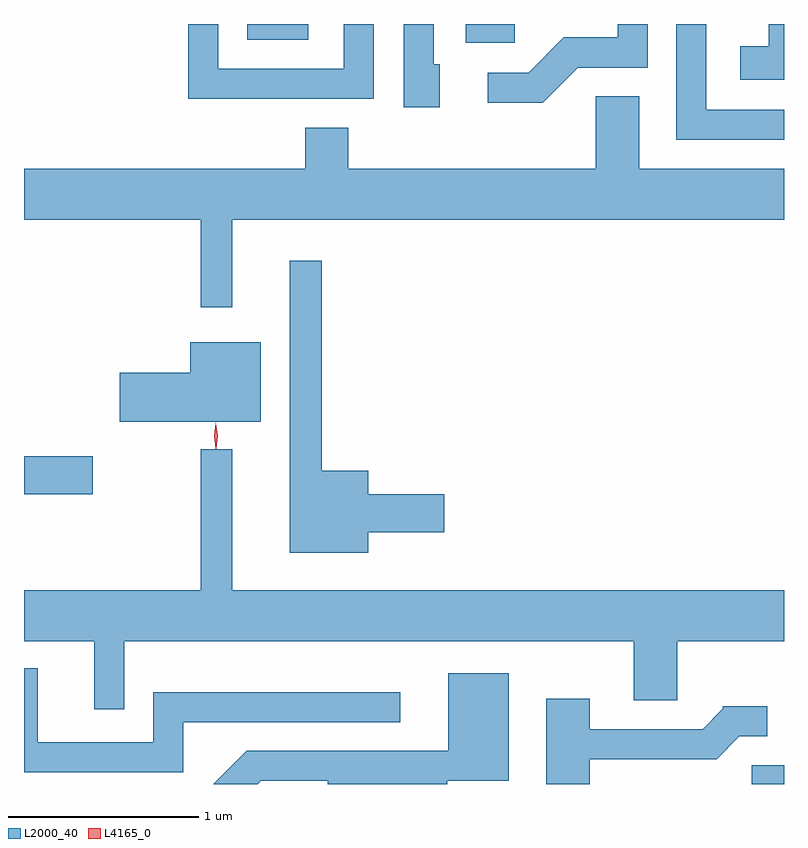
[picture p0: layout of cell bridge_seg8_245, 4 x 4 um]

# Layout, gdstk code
import gdstk
lib = gdstk.Library(unit=1e-6, precision=1e-09)
def R(c, l, rs):  # rectangles x0, y0, x1, y1
    for r in rs: c.add(gdstk.rectangle(r[:2], r[2:], *l))
def P(c, l, *ps):  # polygons
    for p in ps: c.add(gdstk.Polygon(p, *l))
L2000_40 = (2000, 40)
L4165_0 = (4165, 0)

bridge_seg8_245 = lib.new_cell('bridge_seg8_245')
R(bridge_seg8_245, L2000_40, [(1113.651,1820.125,1113.822,1820.224), (1109.822,1821.651,1110.184,1821.849), (1112.146,1824.026,1112.404,1824.125), (1110.996,1824.041,1111.319,1824.125)])
P(bridge_seg8_245, L2000_40, [(1113.822,1823.674),(1113.414,1823.674),(1113.414,1824.125),(1113.256,1824.125),(1113.256,1823.516),(1113.822,1823.516)],
  [(1112.737,1823.896),(1113.104,1823.896),(1113.104,1824.125),(1112.946,1824.125),(1112.946,1824.054),(1112.664,1824.054),(1112.479,1823.869),(1112.263,1823.869),(1112.263,1823.711),(1112.552,1823.711)],
  [(1111.664,1824.125),(1111.506,1824.125),(1111.506,1823.889),(1110.844,1823.889),(1110.844,1824.125),(1110.686,1824.125),(1110.686,1823.731),(1111.664,1823.731)],
  [(1113.822,1824.125),(1113.741,1824.125),(1113.741,1824.009),(1113.591,1824.009),(1113.591,1823.831),(1113.822,1823.831)],
  [(1112.009,1823.914),(1111.979,1823.914),(1111.979,1824.125),(1111.821,1824.125),(1111.821,1823.686),(1112.009,1823.686)],
  [(1110.919,1823.096),(1113.822,1823.096),(1113.822,1823.364),(1113.059,1823.364),(1113.059,1823.744),(1112.831,1823.744),(1112.831,1823.364),(1111.529,1823.364),(1111.529,1823.579),(1111.301,1823.579),(1111.301,1823.364),(1109.822,1823.364),(1109.822,1823.096),(1110.751,1823.096),(1110.751,1822.633),(1110.919,1822.633)],
  [(1111.634,1821.451),(1112.034,1821.451),(1112.034,1821.649),(1111.634,1821.649),(1111.634,1821.774),(1111.389,1821.774),(1111.389,1822.878),(1111.221,1822.878),(1111.221,1821.341),(1111.634,1821.341)],
  [(1111.069,1822.449),(1110.696,1822.449),(1110.696,1822.289),(1110.326,1822.289),(1110.326,1822.031),(1111.069,1822.031)],
  [(1110.349,1820.876),(1113.031,1820.876),(1113.031,1820.566),(1113.259,1820.566),(1113.259,1820.876),(1113.822,1820.876),(1113.822,1821.144),(1110.919,1821.144),(1110.919,1821.888),(1110.751,1821.888),(1110.751,1821.144),(1109.822,1821.144),(1109.822,1820.876),(1110.191,1820.876),(1110.191,1820.518),(1110.349,1820.518)],
  [(1110.659,1820.451),(1111.803,1820.451),(1111.803,1820.609),(1110.501,1820.609),(1110.501,1820.344),(1109.894,1820.344),(1109.894,1820.733),(1109.822,1820.733),(1109.822,1820.186),(1110.659,1820.186)],
  [(1111.067,1820.141),(1111.421,1820.141),(1111.421,1820.125),(1112.049,1820.125),(1112.049,1820.141),(1112.374,1820.141),(1112.374,1820.709),(1112.056,1820.709),(1112.056,1820.299),(1110.994,1820.299),(1110.819,1820.125),(1111.051,1820.125)],
  [(1112.799,1820.256),(1113.467,1820.256),(1113.587,1820.376),(1113.733,1820.376),(1113.733,1820.534),(1113.5,1820.534),(1113.5,1820.521),(1113.394,1820.414),(1112.799,1820.414),(1112.799,1820.574),(1112.571,1820.574),(1112.571,1820.125),(1112.799,1820.125)])
P(bridge_seg8_245, L4165_0, [(1110.832,1821.89),(1110.832,1821.89),(1110.822,1821.958),(1110.831,1822.025),(1110.832,1822.026),(1110.832,1822.025),(1110.842,1821.958),(1110.833,1821.89)],
  [(1110.832,1821.893),(1110.832,1821.894),(1110.822,1821.956),(1110.831,1822.019),(1110.832,1822.02),(1110.832,1822.019),(1110.842,1821.956),(1110.833,1821.894)])

lib.write_gds('bridge_seg8_245.gds')
